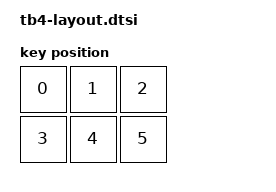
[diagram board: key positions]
/*
 * Manufacture : 2026 Zerotype
 * Copyright (c) 2024 The ZMK Contributors
 * SPDX-License-Identifier: MIT
 */

#include <physical_layouts.dtsi>

/ {
    physical_layout0: physical_layout_0 {
        compatible = "zmk,physical-layout";
        display-name = "Default";

        kscan = <&kscan0>;
        transform = <&matrix_transform0>;

        keys  //                     w   h    x    y     rot    rx    ry
            = <&key_physical_attrs 100 100    0    0       0     0     0>
            , <&key_physical_attrs 100 100  100    0       0     0     0>
            , <&key_physical_attrs 100 100  200    0       0     0     0>
            , <&key_physical_attrs 100 100    0  100       0     0     0>
            , <&key_physical_attrs 100 100  100  100       0     0     0>
            , <&key_physical_attrs 100 100  200  100       0     0     0>
            ;
    };
};
